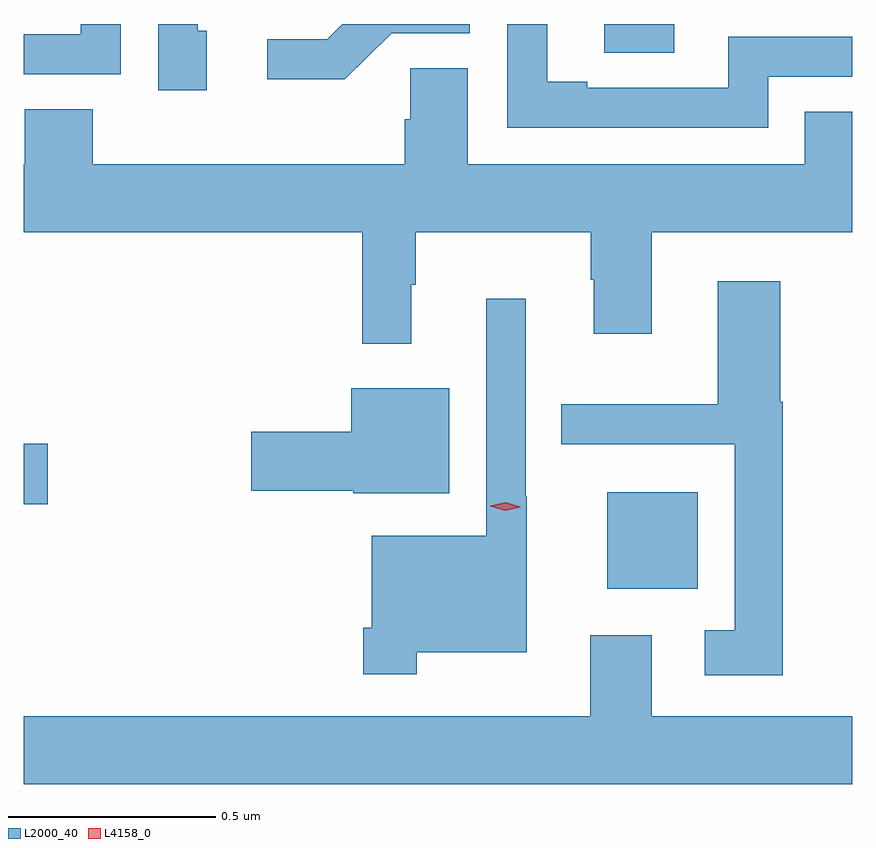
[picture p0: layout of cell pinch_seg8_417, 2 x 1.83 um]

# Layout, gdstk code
import gdstk
lib = gdstk.Library(unit=1e-6, precision=1e-09)
def R(c, l, rs):  # rectangles x0, y0, x1, y1
    for r in rs: c.add(gdstk.rectangle(r[:2], r[2:], *l))
def P(c, l, *ps):  # polygons
    for p in ps: c.add(gdstk.Polygon(p, *l))
L2000_40 = (2000, 40)
L4158_0 = (4158, 0)

pinch_seg8_417 = lib.new_cell('pinch_seg8_417')
R(pinch_seg8_417, L2000_40, [(508.076,1103.651,508.294,1103.884), (506.667,1103.855,506.725,1104.002), (508.068,1104.946,508.238,1105.015)])
P(pinch_seg8_417, L2000_40, [(507.555,1104.993),(507.744,1104.993),(507.744,1105.015),(507.436,1105.015),(507.399,1104.978),(507.255,1104.978),(507.255,1104.881),(507.442,1104.881)],
  [(506.901,1105.015),(506.805,1105.015),(506.805,1104.99),(506.667,1104.99),(506.667,1104.894),(506.901,1104.894)],
  [(507.109,1104.999),(507.087,1104.999),(507.087,1105.015),(506.991,1105.015),(506.991,1104.855),(507.109,1104.855)],
  [(508.464,1104.888),(508.667,1104.888),(508.667,1104.984),(508.368,1104.984),(508.368,1104.861),(508.027,1104.861),(508.027,1104.876),(507.931,1104.876),(507.931,1105.015),(507.834,1105.015),(507.834,1104.765),(508.464,1104.765)],
  [(507.602,1104.386),(507.613,1104.386),(507.613,1104.512),(508.036,1104.512),(508.036,1104.398),(508.043,1104.398),(508.043,1104.267),(508.183,1104.267),(508.183,1104.512),(508.667,1104.512),(508.667,1104.803),(508.553,1104.803),(508.553,1104.676),(507.739,1104.676),(507.739,1104.908),(507.6,1104.908),(507.6,1104.785),(507.587,1104.785),(507.587,1104.676),(506.834,1104.676),(506.834,1104.809),(506.669,1104.809),(506.669,1104.676),(506.667,1104.676),(506.667,1104.512),(507.484,1104.512),(507.484,1104.243),(507.602,1104.243)],
  [(508.499,1104.103),(508.493,1104.103),(508.493,1104.394),(508.343,1104.394),(508.343,1104.097),(507.964,1104.097),(507.964,1104),(508.383,1104),(508.383,1103.551),(508.311,1103.551),(508.311,1103.442),(508.499,1103.442)],
  [(507.616,1103.498),(507.881,1103.498),(507.881,1103.875),(507.879,1103.875),(507.879,1104.352),(507.783,1104.352),(507.783,1103.779),(507.507,1103.779),(507.507,1103.557),(507.487,1103.557),(507.487,1103.445),(507.616,1103.445)],
  [(507.694,1104.136),(507.458,1104.136),(507.458,1104.03),(507.216,1104.03),(507.216,1103.888),(507.462,1103.888),(507.462,1103.882),(507.694,1103.882)],
  [(508.667,1103.344),(508.183,1103.344),(508.183,1103.539),(508.034,1103.539),(508.034,1103.344),(506.667,1103.344),(506.667,1103.18),(508.667,1103.18)])
P(pinch_seg8_417, L4158_0, [(507.829,1103.84),(507.793,1103.851),(507.793,1103.852),(507.793,1103.852),(507.83,1103.86),(507.865,1103.849),(507.865,1103.849),(507.865,1103.848)])

lib.write_gds('pinch_seg8_417.gds')
